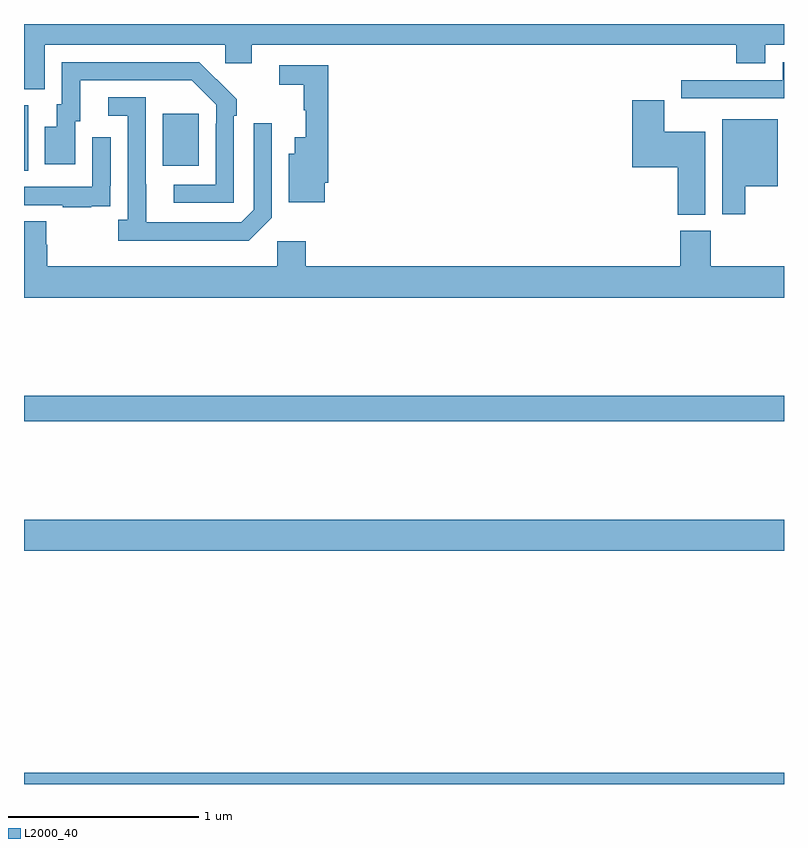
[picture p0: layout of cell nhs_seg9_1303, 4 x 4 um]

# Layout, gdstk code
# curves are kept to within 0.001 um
import gdstk
lib = gdstk.Library(unit=1e-6, precision=1e-09)
def R(c, l, rs):  # rectangles x0, y0, x1, y1
    for r in rs: c.add(gdstk.rectangle(r[:2], r[2:], *l))
def P(c, l, *ps):  # polygons
    for p in ps: c.add(gdstk.Polygon(p, *l))
L2000_40 = (2000, 40)

nhs_seg9_1303 = lib.new_cell('nhs_seg9_1303')
R(nhs_seg9_1303, L2000_40, [(183,1220.5,187,1220.56), (183,1221.728,187,1221.892), (183,1222.408,187,1222.544), (183,1223.728,183.022,1224.072), (183.731,1223.753,183.919,1224.028)])
P(nhs_seg9_1303, L2000_40, [(183.109,1224.392),(184.059,1224.392),(184.059,1224.294),(184.198,1224.294),(184.198,1224.392),(186.749,1224.392),(186.749,1224.293),(186.901,1224.293),(186.901,1224.392),(187,1224.392),(187,1224.5),(183,1224.5),(183,1224.157),(183.109,1224.157)],
  [(187,1224.3),(186.993,1224.3),(186.993,1224.204),(186.459,1224.204),(186.459,1224.108),(187,1224.108)],
  [(184.104,1224.017),(184.119,1224.017),(184.119,1224.105),(183.922,1224.3),(183.198,1224.3),(183.198,1224.078),(183.173,1224.078),(183.173,1223.959),(183.11,1223.959),(183.11,1223.763),(183.271,1223.763),(183.271,1223.988),(183.295,1223.988),(183.295,1224.204),(183.883,1224.204),(184.011,1224.075),(184.011,1223.975),(184.008,1223.975),(184.008,1223.655),(183.789,1223.655),(183.789,1223.559),(184.104,1223.559)],
  [(184.582,1223.665),(184.601,1223.665),(184.601,1224.282),(184.344,1224.282),(184.344,1224.181),(184.473,1224.181),(184.473,1224.045),(184.484,1224.045),(184.484,1223.905),(184.424,1223.905),(184.424,1223.818),(184.394,1223.818),(184.394,1223.561),(184.582,1223.561)],
  [(184.305,1223.481),(184.305,1223.977),(184.209,1223.977),(184.209,1223.523),(184.143,1223.457),(183.643,1223.457),(183.642,1224.114),(183.444,1224.114),(183.444,1224.018),(183.546,1224.018),(183.546,1223.47),(183.495,1223.47),(183.495,1223.36),(184.184,1223.36)],
  [(186.586,1223.932),(186.37,1223.932),(186.37,1224.1),(186.2,1224.1),(186.2,1223.747),(186.44,1223.747),(186.44,1223.497),(186.586,1223.497)],
  [(186.796,1223.645),(186.967,1223.645),(186.967,1223.998),(186.674,1223.998),(186.674,1223.499),(186.796,1223.499)],
  [(183.353,1223.541),(183.455,1223.541),(183.455,1223.65),(183.456,1223.65),(183.456,1223.905),(183.36,1223.905),(183.36,1223.643),(183,1223.643),(183,1223.547),(183.205,1223.547),(183.205,1223.535),(183.353,1223.535)],
  [(187,1223.224),(186.615,1223.224),(186.615,1223.412),(186.455,1223.412),(186.455,1223.224),(184.484,1223.224),(184.484,1223.356),(184.332,1223.356),(184.332,1223.224),(183.122,1223.224),(183.122,1223.337),(183.117,1223.337),(183.117,1223.462),(183,1223.462),(183,1223.06),(187,1223.06)])

lib.write_gds('nhs_seg9_1303.gds')
